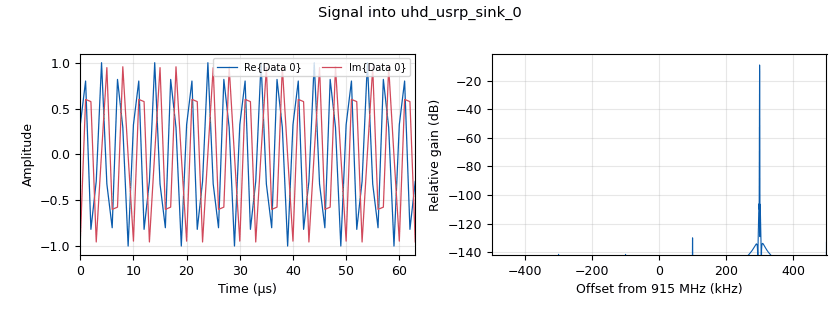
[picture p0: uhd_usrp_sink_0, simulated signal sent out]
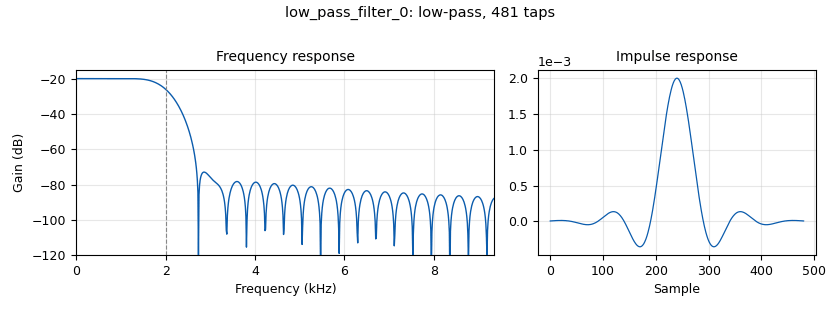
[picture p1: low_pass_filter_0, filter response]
options:
  parameters:
    author: ebaum
    generate_options: qt_gui
    id: top_block
    output_language: python
    title: Not titled yet
  states: {}

blocks:
- name: center_freq
  id: variable
  parameters:
    value: 915e6
  states: {}
- name: filter_samp_rate
  id: variable
  parameters:
    value: 30e3
  states: {}
- name: freq_offset
  id: variable_qtgui_entry
  parameters:
    label: Freq Offset (Hz)
    type: real
    value: '-1900'
  states: {}
- name: pulse_width_hz
  id: variable_qtgui_entry
  parameters:
    gui_hint: 2,3,1,1
    label: pulse width (hz)
    type: int
    value: '2000'
  states: {}
- name: rx_gain
  id: variable_qtgui_range
  parameters:
    gui_hint: 2,2,1,1
    label: RX gain (dB)
    orient: Qt.Horizontal
    start: '0'
    step: '1'
    stop: '76'
    value: '38'
  states: {}
- name: samp_rate
  id: variable
  parameters:
    value: 200e3
  states: {}
- name: scatter_center_freq
  id: variable_qtgui_entry
  parameters:
    gui_hint: 1,2,1,1
    label: Scatter Freq (Hz)
    type: real
    value: '149545.76'
  states: {}
- name: sps
  id: variable
  parameters:
    value: int(filter_samp_rate/symbol_rate)
  states: {}
- name: symbol_rate
  id: variable
  parameters:
    value: 1e3
  states: {}
- name: tone_freq
  id: variable
  parameters:
    value: tone_freq_khz * 1e3
  states: {}
- name: tone_freq_khz
  id: variable_qtgui_entry
  parameters:
    gui_hint: 1,1,1,1
    label: Tone Freq (kHz)
    type: real
    value: '300'
  states: {}
- name: tx_gain
  id: variable_qtgui_range
  parameters:
    gui_hint: 2,1,1,1
    label: TX gain (dB)
    orient: Qt.Horizontal
    start: '0'
    step: '1'
    stop: '89'
    value: '40'
  states: {}
- name: tx_samp_rate
  id: variable
  parameters:
    value: 1e6
  states: {}
- name: analog_sig_source_x_0
  id: analog_sig_source_x
  parameters:
    amp: '1'
    freq: tone_freq
    offset: '0'
    phase: '0'
    samp_rate: tx_samp_rate
    type: complex
    waveform: analog.GR_COS_WAVE
  states: {}
- name: analog_sig_source_x_1
  id: analog_sig_source_x
  parameters:
    amp: '1'
    freq: '-freq_offset'
    offset: '0'
    phase: '0'
    samp_rate: samp_rate
    type: complex
    waveform: analog.GR_COS_WAVE
  states: {}
- name: blocks_add_const_vxx_0
  id: blocks_add_const_vxx
  parameters:
    const: '48'
    type: byte
  states: {}
- name: blocks_complex_to_mag_0
  id: blocks_complex_to_mag
  parameters: {}
  states: {}
- name: blocks_moving_average_xx_0
  id: blocks_moving_average_xx
  parameters:
    length: '500'
    max_iter: '4000'
    scale: 1/500
    type: float
  states: {}
- name: blocks_multiply_xx_0
  id: blocks_multiply_xx
  parameters:
    type: complex
  states: {}
- name: blocks_sub_xx_0
  id: blocks_sub_xx
  parameters:
    type: float
  states: {}
- name: blocks_uchar_to_float_0
  id: blocks_uchar_to_float
  parameters: {}
  states: {}
- name: blocks_udp_sink_0
  id: blocks_udp_sink
  parameters:
    eof: 'True'
    ipaddr: localhost
    port: '5555'
    psize: '100'
    type: byte
    vlen: '1'
  states: {}
- name: digital_binary_slicer_fb_0
  id: digital_binary_slicer_fb
  parameters: {}
  states: {}
- name: low_pass_filter_0
  id: low_pass_filter
  parameters:
    cutoff_freq: pulse_width_hz
    decim: int(samp_rate/filter_samp_rate)
    gain: '0.1'
    samp_rate: samp_rate
    type: fir_filter_ccf
    width: pulse_width_hz * 0.5
    win: firdes.WIN_HAMMING
  states: {}
- name: qtgui_freq_sink_x_0
  id: qtgui_freq_sink_x
  parameters:
    bw: samp_rate
    fc: '0'
    fftsize: '1024'
    type: complex
    wintype: firdes.WIN_BLACKMAN_hARRIS
  states: {}
- name: qtgui_freq_sink_x_1
  id: qtgui_freq_sink_x
  parameters:
    bw: filter_samp_rate
    fc: '0'
    fftsize: '1024'
    type: complex
    wintype: firdes.WIN_BLACKMAN_hARRIS
  states: {}
- name: qtgui_time_sink_x_0
  id: qtgui_time_sink_x
  parameters:
    ctrlpanel: 'True'
    size: '1024'
    srate: samp_rate
    type: float
  states: {}
- name: qtgui_time_sink_x_1
  id: qtgui_time_sink_x
  parameters:
    size: '1024'
    srate: filter_samp_rate
    type: float
  states: {}
- name: qtgui_waterfall_sink_x_0
  id: qtgui_waterfall_sink_x
  parameters:
    bw: samp_rate
    fc: '0'
    fftsize: '1024'
    type: complex
    wintype: firdes.WIN_BLACKMAN_hARRIS
  states: {}
- name: uhd_usrp_sink_0
  id: uhd_usrp_sink
  parameters:
    ant0: TX/RX
    center_freq0: center_freq
    dev_args: '""'
    gain0: tx_gain
    len_tag_name: ''
    norm_gain0: 'False'
    samp_rate: tx_samp_rate
    sync: sync
    type: fc32
  states: {}
- name: uhd_usrp_source_0
  id: uhd_usrp_source
  parameters:
    ant0: RX2
    center_freq0: center_freq + tone_freq + scatter_center_freq
    dc_offs_enb0: '""'
    dev_args: '""'
    gain0: rx_gain
    iq_imbal_enb0: '""'
    norm_gain0: 'False'
    samp_rate: samp_rate
    sync: sync
    type: fc32
  states: {}

connections:
- [analog_sig_source_x_0, '0', uhd_usrp_sink_0, '0']
- [analog_sig_source_x_1, '0', blocks_multiply_xx_0, '1']
- [blocks_add_const_vxx_0, '0', blocks_udp_sink_0, '0']
- [blocks_complex_to_mag_0, '0', blocks_moving_average_xx_0, '0']
- [blocks_complex_to_mag_0, '0', blocks_sub_xx_0, '0']
- [blocks_complex_to_mag_0, '0', qtgui_time_sink_x_0, '0']
- [blocks_moving_average_xx_0, '0', blocks_sub_xx_0, '1']
- [blocks_multiply_xx_0, '0', low_pass_filter_0, '0']
- [blocks_multiply_xx_0, '0', qtgui_freq_sink_x_0, '0']
- [blocks_multiply_xx_0, '0', qtgui_waterfall_sink_x_0, '0']
- [blocks_sub_xx_0, '0', digital_binary_slicer_fb_0, '0']
- [blocks_uchar_to_float_0, '0', qtgui_time_sink_x_1, '0']
- [digital_binary_slicer_fb_0, '0', blocks_add_const_vxx_0, '0']
- [digital_binary_slicer_fb_0, '0', blocks_uchar_to_float_0, '0']
- [low_pass_filter_0, '0', blocks_complex_to_mag_0, '0']
- [low_pass_filter_0, '0', qtgui_freq_sink_x_1, '0']
- [uhd_usrp_source_0, '0', blocks_multiply_xx_0, '0']

metadata:
  file_format: 1
